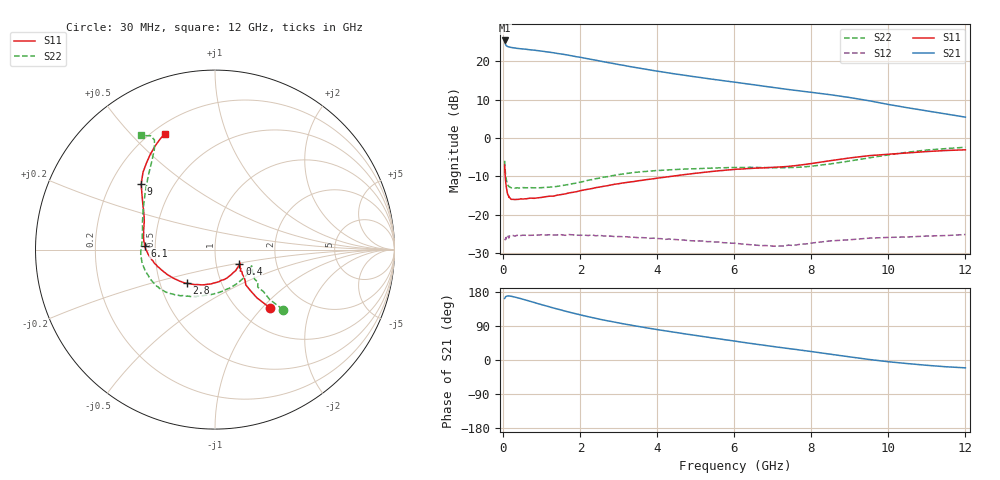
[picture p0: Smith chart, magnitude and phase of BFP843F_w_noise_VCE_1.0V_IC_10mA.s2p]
! Infineon Technologies  Discrete & RF Semiconductors
! BFP843F
! VCE =  1.0 V,  IC =  10 mA
! Common Emitter S-Parameters:  Aug 2013
# GHz  S  MA  R  50
!  f  S11  S21  S12  S22
! GHz  MAG  ANG  MAG  ANG  MAG  ANG  MAG  ANG
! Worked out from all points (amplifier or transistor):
!   103 points, 30 MHz to 12 GHz, reference 50 ohm
!   highest |S21| = 25.4 dB at 30 MHz (marker M1)
!   |S21| within 3 dB of that: start of sweep to 1.147 GHz
!   unconditionally stable (mu >= 1): 137.8 MHz to 142.1 MHz; 197.7 MHz to 835.5 MHz; 2.519 GHz to end of sweep
!   at 400 MHz: K = 1.01, MAG = 23.9 dB, |S12| = -25.5 dB
!   at 3.7 GHz: K = 1.10, MAG = 20.0 dB, |S12| = -26.0 dB
!   at 12 GHz: K = 1.36, MAG = 11.7 dB, |S12| = -25.2 dB
!   lowest NFmin = 0.79 dB at 450 MHz
!   S11 on the Smith chart (normalised r, x): 30 MHz: 1.36, -1.10; 400 MHz: 1.29, -0.22; 2.8 GHz: 0.68, -0.27; 6.1 GHz: 0.44, +0.02; 9 GHz: 0.33, +0.34; 12 GHz: 0.25, +0.63
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0.03  0.4458 -46.7  18.71 162.5  0.0478 29.3  0.5048 -41.4
0.04  0.3562 -49.0  17.52 163.5  0.0475 22.9  0.4136 -42.4
0.05  0.3026 -49.2  16.73 166.1  0.0472 19.5  0.3563 -40.9
0.07  0.2389 -45.6  16.04 167.8  0.0485 16.5  0.3002 -37.1
0.13  0.1788 -36.3  15.43 169.2  0.0513 8.3  0.2364 -28.4
0.2  0.1586 -29.7  15.16 168.2  0.0535 5.3  0.2243 -24.3
0.4  0.1588 -31.0  14.69 163.3  0.0533 3.1  0.2232 -27.5
0.9  0.1662 -56.7  13.78 148.6  0.0542 1.1  0.2242 -52.1
1.3  0.1746 -78.3  12.94 137.2  0.0544 -0.9  0.2305 -73.9
1.7  0.1923 -96.3  11.99 126.5  0.0551 -2.5  0.2483 -92.7
2.1  0.2107 -111.2  11.03 116.6  0.0542 -4.4  0.2725 -108.8
2.5  0.2297 -122.7  10.1 107.6  0.0538 -5.4  0.3003 -120.4
2.8  0.2448 -129.8  9.468 101.7  0.0526 -6.1  0.3213 -126.8
3.4  0.2712 -141.8  8.348 90.4  0.0508 -6.8  0.356 -137.3
4.1  0.3044 -154.3  7.316 78.6  0.0487 -7.4  0.3786 -146.7
5.1  0.3517 -169.7  6.168 63.2  0.0456 -6.4  0.3992 -159.3
6.1  0.3931 176.7  5.274 48.5  0.042 -3.7  0.4128 -172.2
7.1  0.4174 161.4  4.5 34.3  0.039 3.4  0.4092 174.5
8.5  0.5072 143.3  3.665 15.2  0.0456 12.5  0.4598 150.5
9  0.5502 138.4  3.369 8.2  0.0472 13.1  0.5019 140.8
10.5  0.6396 124.5  2.48 -9.5  0.0513 14.3  0.6537 121.1
12  0.7021 113.5  1.872 -20.7  0.0552 17.2  0.7581 123.0
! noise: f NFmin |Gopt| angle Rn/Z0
0.45  0.79  0.04  18  0.02
0.9  0.8  0.04  35  0.03
1.5  0.85  0.05  55  0.04
1.9  0.89  0.05  77  0.04
2.4  0.93  0.06  96  0.05
3.5  0.99  0.08  129  0.1
5.5  1.09  0.16  -176  0.17
10  1.66  0.36  -114  0.28
